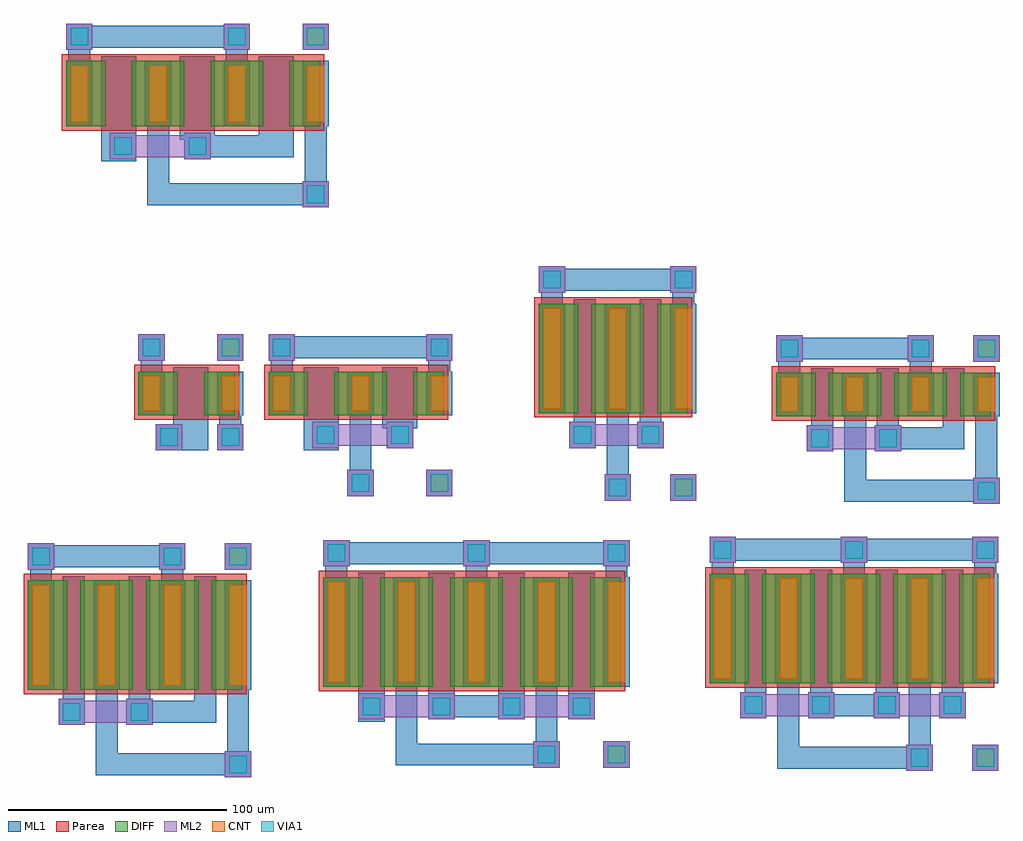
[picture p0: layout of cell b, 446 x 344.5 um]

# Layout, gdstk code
import gdstk
lib = gdstk.Library(unit=1e-6, precision=1e-09)
def R(c, l, rs):  # rectangles x0, y0, x1, y1
    for r in rs: c.add(gdstk.rectangle(r[:2], r[2:], *l))
def A(c, l, x, y, w, h, nx, ny, dx, dy):  # array of equal rectangles
    R(c, l, [(x+i*dx, y+j*dy, x+i*dx+w, y+j*dy+h) for i in range(nx) for j in range(ny)])
DIFF = (3, 0)
CNT = (7, 0)
ML1 = (8, 0)
VIA1 = (9, 0)
ML2 = (10, 0)
Parea = (18, 0)

c_b = lib.new_cell('b')
A(c_b, DIFF, 77.5, -130, 24, 50, 3, 1, 32, 0)
A(c_b, DIFF, 252, -128.5, 24, 50, 3, 1, 30, 0)
R(c_b, DIFF, [(-83.5,-131.5,-65.5,-81.5), (-59.5,-131.5,-35.5,-81.5), (-29.5,-131.5,-5.5,-81.5), (0.5,-131.5,14.5,-81.5), (51.5,-130,69.5,-80), (173.5,-130,187.5,-80), (228,-128.5,246,-78.5), (342,-128.5,356,-78.5), (258.5,-6.5,276.5,13.5), (282.5,-6.5,306.5,13.5), (312.5,-6.5,336.5,13.5), (342.5,-6.5,356.5,13.5), (-33,-6,-15,14), (-3,-6,11,14), (26.5,-6,44.5,14), (56.5,-6,80.5,14), (92.5,-6,106.5,14), (150,-5,168,45), (174,-5,198,45), (204,-5,218,45), (-66,126,-48,156), (-36,126,-12,156), (0,126,24,156), (36,126,50,156)])
R(c_b, CNT, [(350,-166.5,358,-158.5), (181.5,-165,189.5,-157), (8.5,-74.5,16.5,-66.5), (212,-43,220,-35), (100.5,-41,108.5,-33), (350.5,20.5,358.5,28.5), (5,21,13,29), (44,163,52,171)])
A(c_b, ML1, 67.5, -145, 12, 12, 4, 1, 32, 0)
A(c_b, ML1, 273, -144.5, 12, 12, 3, 1, 30, 0)
A(c_b, ML1, 51.5, -75, 12, 12, 3, 1, 64, 0)
A(c_b, ML1, 228, -73.5, 12, 12, 3, 1, 60, 0)
R(c_b, ML1, [(6.5,-171.5,18.5,-159.5), (318,-168.5,330,-156.5), (348,-168.5,360,-156.5), (348,-168.5,360,-156.5), (147.5,-167,159.5,-155), (179.5,-167,191.5,-155), (179.5,-167,191.5,-155), (-69.5,-147.5,-57.5,-135.5), (-38.5,-147.5,-26.5,-135.5), (242,-144.5,254,-132.5), (-83.5,-76.5,-71.5,-64.5), (-23.5,-76.5,-11.5,-64.5), (6.5,-76.5,18.5,-64.5), (6.5,-76.5,18.5,-64.5), (348.5,-46.5,360.5,-34.5), (180,-45,192,-33), (210,-45,222,-33), (210,-45,222,-33), (62.5,-43,74.5,-31), (98.5,-43,110.5,-31), (98.5,-43,110.5,-31), (272.5,-22.5,284.5,-10.5), (303.5,-22.5,315.5,-10.5), (-25,-22,-13,-10), (3,-22,15,-10), (46.5,-21,58.5,-9), (80.5,-21,92.5,-9), (164,-21,176,-9), (195,-21,207,-9), (258.5,18.5,270.5,30.5), (318.5,18.5,330.5,30.5), (348.5,18.5,360.5,30.5), (348.5,18.5,360.5,30.5), (-33,19,-21,31), (3,19,15,31), (3,19,15,31), (26.5,19,38.5,31), (98.5,19,110.5,31), (150,50,162,62), (210,50,222,62), (42,89,54,101), (-46,111,-34,123), (-12,111,0,123), (-66,161,-54,173), (6,161,18,173), (42,161,54,173), (42,161,54,173)])
A(c_b, VIA1, 69.5, -143, 8, 8, 4, 1, 32, 0)
A(c_b, VIA1, 275, -142.5, 8, 8, 3, 1, 30, 0)
A(c_b, VIA1, 53.5, -73, 8, 8, 3, 1, 64, 0)
A(c_b, VIA1, 230, -71.5, 8, 8, 3, 1, 60, 0)
R(c_b, VIA1, [(8.5,-169.5,16.5,-161.5), (320,-166.5,328,-158.5), (350,-166.5,358,-158.5), (149.5,-165,157.5,-157), (181.5,-165,189.5,-157), (-67.5,-145.5,-59.5,-137.5), (-36.5,-145.5,-28.5,-137.5), (244,-142.5,252,-134.5), (-81.5,-74.5,-73.5,-66.5), (-21.5,-74.5,-13.5,-66.5), (8.5,-74.5,16.5,-66.5), (350.5,-44.5,358.5,-36.5), (182,-43,190,-35), (212,-43,220,-35), (64.5,-41,72.5,-33), (100.5,-41,108.5,-33), (274.5,-20.5,282.5,-12.5), (305.5,-20.5,313.5,-12.5), (-23,-20,-15,-12), (5,-20,13,-12), (48.5,-19,56.5,-11), (82.5,-19,90.5,-11), (166,-19,174,-11), (197,-19,205,-11), (260.5,20.5,268.5,28.5), (320.5,20.5,328.5,28.5), (350.5,20.5,358.5,28.5), (-31,21,-23,29), (5,21,13,29), (28.5,21,36.5,29), (100.5,21,108.5,29), (152,52,160,60), (212,52,220,60), (44,91,52,99), (-44,113,-36,121), (-10,113,-2,121), (-64,163,-56,171), (8,163,16,171), (44,163,52,171)])
A(c_b, ML2, 67.5, -145, 12, 12, 4, 1, 32, 0)
A(c_b, ML2, 273, -144.5, 12, 12, 3, 1, 30, 0)
A(c_b, ML2, 51.5, -75, 12, 12, 3, 1, 64, 0)
A(c_b, ML2, 228, -73.5, 12, 12, 3, 1, 60, 0)
R(c_b, ML2, [(6.5,-171.5,18.5,-159.5), (318,-168.5,330,-156.5), (348,-168.5,360,-156.5), (147.5,-167,159.5,-155), (179.5,-167,191.5,-155), (-69.5,-147.5,-57.5,-135.5), (-38.5,-147.5,-26.5,-135.5), (242,-144.5,254,-132.5), (-83.5,-76.5,-71.5,-64.5), (-23.5,-76.5,-11.5,-64.5), (6.5,-76.5,18.5,-64.5), (348.5,-46.5,360.5,-34.5), (180,-45,192,-33), (210,-45,222,-33), (62.5,-43,74.5,-31), (98.5,-43,110.5,-31), (272.5,-22.5,284.5,-10.5), (303.5,-22.5,315.5,-10.5), (-25,-22,-13,-10), (3,-22,15,-10), (46.5,-21,58.5,-9), (80.5,-21,92.5,-9), (164,-21,176,-9), (195,-21,207,-9), (258.5,18.5,270.5,30.5), (318.5,18.5,330.5,30.5), (348.5,18.5,360.5,30.5), (-33,19,-21,31), (3,19,15,31), (26.5,19,38.5,31), (98.5,19,110.5,31), (150,50,162,62), (210,50,222,62), (42,89,54,101), (-46,111,-34,123), (-12,111,0,123), (-66,161,-54,173), (6,161,18,173), (42,161,54,173)])
R(c_b, Parea, [(-85.5,-133.5,16.5,-78.5), (49.5,-132,189.5,-77), (226,-130.5,358,-75.5), (256.5,-8.5,358.5,16.5), (-35,-8,13,17), (24.5,-8,108.5,17), (148,-7,220,48), (-68,124,52,159)])
c_b.add(gdstk.FlexPath([(-27,-6),(-27,14)], 8, ends=(-2, -2), simple_path=True, layer=7, datatype=0))  # CNT
c_b.add(gdstk.FlexPath([(9,-6),(9,14)], 8, ends=(-2, -2), simple_path=True, layer=7, datatype=0))  # CNT
c_b.add(gdstk.FlexPath([(-77.5,-131.5),(-77.5,-81.5)], 8, ends=(-2, -2), simple_path=True, layer=7, datatype=0))  # CNT
c_b.add(gdstk.FlexPath([(-47.5,-131.5),(-47.5,-81.5)], 8, ends=(-2, -2), simple_path=True, layer=7, datatype=0))  # CNT
c_b.add(gdstk.FlexPath([(-17.5,-131.5),(-17.5,-81.5)], 8, ends=(-2, -2), simple_path=True, layer=7, datatype=0))  # CNT
c_b.add(gdstk.FlexPath([(12.5,-131.5),(12.5,-81.5)], 8, ends=(-2, -2), simple_path=True, layer=7, datatype=0))  # CNT
c_b.add(gdstk.FlexPath([(156,-5),(156,45)], 8, ends=(-2, -2), simple_path=True, layer=7, datatype=0))  # CNT
c_b.add(gdstk.FlexPath([(186,-5),(186,45)], 8, ends=(-2, -2), simple_path=True, layer=7, datatype=0))  # CNT
c_b.add(gdstk.FlexPath([(216,-5),(216,45)], 8, ends=(-2, -2), simple_path=True, layer=7, datatype=0))  # CNT
c_b.add(gdstk.FlexPath([(57.5,-130),(57.5,-80)], 8, ends=(-2, -2), simple_path=True, layer=7, datatype=0))  # CNT
c_b.add(gdstk.FlexPath([(89.5,-130),(89.5,-80)], 8, ends=(-2, -2), simple_path=True, layer=7, datatype=0))  # CNT
c_b.add(gdstk.FlexPath([(121.5,-130),(121.5,-80)], 8, ends=(-2, -2), simple_path=True, layer=7, datatype=0))  # CNT
c_b.add(gdstk.FlexPath([(153.5,-130),(153.5,-80)], 8, ends=(-2, -2), simple_path=True, layer=7, datatype=0))  # CNT
c_b.add(gdstk.FlexPath([(185.5,-130),(185.5,-80)], 8, ends=(-2, -2), simple_path=True, layer=7, datatype=0))  # CNT
c_b.add(gdstk.FlexPath([(32.5,-6),(32.5,14)], 8, ends=(-2, -2), simple_path=True, layer=7, datatype=0))  # CNT
c_b.add(gdstk.FlexPath([(68.5,-6),(68.5,14)], 8, ends=(-2, -2), simple_path=True, layer=7, datatype=0))  # CNT
c_b.add(gdstk.FlexPath([(104.5,-6),(104.5,14)], 8, ends=(-2, -2), simple_path=True, layer=7, datatype=0))  # CNT
c_b.add(gdstk.FlexPath([(264.5,-6.5),(264.5,13.5)], 8, ends=(-2, -2), simple_path=True, layer=7, datatype=0))  # CNT
c_b.add(gdstk.FlexPath([(294.5,-6.5),(294.5,13.5)], 8, ends=(-2, -2), simple_path=True, layer=7, datatype=0))  # CNT
c_b.add(gdstk.FlexPath([(324.5,-6.5),(324.5,13.5)], 8, ends=(-2, -2), simple_path=True, layer=7, datatype=0))  # CNT
c_b.add(gdstk.FlexPath([(354.5,-6.5),(354.5,13.5)], 8, ends=(-2, -2), simple_path=True, layer=7, datatype=0))  # CNT
c_b.add(gdstk.FlexPath([(234,-128.5),(234,-78.5)], 8, ends=(-2, -2), simple_path=True, layer=7, datatype=0))  # CNT
c_b.add(gdstk.FlexPath([(264,-128.5),(264,-78.5)], 8, ends=(-2, -2), simple_path=True, layer=7, datatype=0))  # CNT
c_b.add(gdstk.FlexPath([(294,-128.5),(294,-78.5)], 8, ends=(-2, -2), simple_path=True, layer=7, datatype=0))  # CNT
c_b.add(gdstk.FlexPath([(324,-128.5),(324,-78.5)], 8, ends=(-2, -2), simple_path=True, layer=7, datatype=0))  # CNT
c_b.add(gdstk.FlexPath([(354,-128.5),(354,-78.5)], 8, ends=(-2, -2), simple_path=True, layer=7, datatype=0))  # CNT
c_b.add(gdstk.FlexPath([(-60,126),(-60,156)], 8, ends=(-2, -2), simple_path=True, layer=7, datatype=0))  # CNT
c_b.add(gdstk.FlexPath([(-24,126),(-24,156)], 8, ends=(-2, -2), simple_path=True, layer=7, datatype=0))  # CNT
c_b.add(gdstk.FlexPath([(12,126),(12,156)], 8, ends=(-2, -2), simple_path=True, layer=7, datatype=0))  # CNT
c_b.add(gdstk.FlexPath([(48,126),(48,156)], 8, ends=(-2, -2), simple_path=True, layer=7, datatype=0))  # CNT
c_b.add(gdstk.FlexPath([(-27,-6),(-27,14)], 12, ends="flush", simple_path=True, layer=8, datatype=0))  # ML1
c_b.add(gdstk.FlexPath([(-9,-16),(-9,14)], 16, ends=(6, 2), simple_path=True, layer=8, datatype=0))  # ML1
c_b.add(gdstk.FlexPath([(9,-6),(9,14)], 12, ends="flush", simple_path=True, layer=8, datatype=0))  # ML1
c_b.add(gdstk.FlexPath([(156,-5),(156,45)], 12, ends="flush", simple_path=True, layer=8, datatype=0))  # ML1
c_b.add(gdstk.FlexPath([(171,-15),(171,45)], 10, ends=(6, 2), simple_path=True, layer=8, datatype=0))  # ML1
c_b.add(gdstk.FlexPath([(186,-5),(186,45)], 12, ends="flush", simple_path=True, layer=8, datatype=0))  # ML1
c_b.add(gdstk.FlexPath([(201,-5),(201,45)], 10, ends=(6, 2), simple_path=True, layer=8, datatype=0))  # ML1
c_b.add(gdstk.FlexPath([(216,-5),(216,45)], 12, ends="flush", simple_path=True, layer=8, datatype=0))  # ML1
c_b.add(gdstk.FlexPath([(137.5,-130),(137.5,-80)], 12, ends=(6, 2), simple_path=True, layer=8, datatype=0))  # ML1
c_b.add(gdstk.FlexPath([(101.5,-139),(143.5,-139)], 10, ends="flush", simple_path=True, layer=8, datatype=0))  # ML1
c_b.add(gdstk.FlexPath([(89.5,-161),(153.5,-161)], 10, ends="extended", simple_path=True, layer=8, datatype=0))  # ML1
c_b.add(gdstk.FlexPath([(121.5,-69),(185.5,-69)], 10, ends="extended", simple_path=True, layer=8, datatype=0))  # ML1
c_b.add(gdstk.FlexPath([(32.5,-6),(32.5,14)], 12, ends="flush", simple_path=True, layer=8, datatype=0))  # ML1
c_b.add(gdstk.FlexPath([(50.5,-16),(50.5,14)], 16, ends=(6, 2), simple_path=True, layer=8, datatype=0))  # ML1
c_b.add(gdstk.FlexPath([(68.5,-6),(68.5,14)], 12, ends="flush", simple_path=True, layer=8, datatype=0))  # ML1
c_b.add(gdstk.FlexPath([(86.5,-6),(86.5,14)], 16, ends=(6, 2), simple_path=True, layer=8, datatype=0))  # ML1
c_b.add(gdstk.FlexPath([(104.5,-6),(104.5,14)], 12, ends="flush", simple_path=True, layer=8, datatype=0))  # ML1
c_b.add(gdstk.FlexPath([(264.5,-6.5),(264.5,13.5)], 12, ends="flush", simple_path=True, layer=8, datatype=0))  # ML1
c_b.add(gdstk.FlexPath([(279.5,-16.5),(279.5,13.5)], 10, ends=(6, 2), simple_path=True, layer=8, datatype=0))  # ML1
c_b.add(gdstk.FlexPath([(294.5,-6.5),(294.5,13.5)], 12, ends="flush", simple_path=True, layer=8, datatype=0))  # ML1
c_b.add(gdstk.FlexPath([(309.5,-6.5),(309.5,13.5)], 10, ends=(6, 2), simple_path=True, layer=8, datatype=0))  # ML1
c_b.add(gdstk.FlexPath([(324.5,-6.5),(324.5,13.5)], 12, ends="flush", simple_path=True, layer=8, datatype=0))  # ML1
c_b.add(gdstk.FlexPath([(339.5,-6.5),(339.5,13.5)], 10, ends=(6, 2), simple_path=True, layer=8, datatype=0))  # ML1
c_b.add(gdstk.FlexPath([(354.5,-6.5),(354.5,13.5)], 12, ends="flush", simple_path=True, layer=8, datatype=0))  # ML1
c_b.add(gdstk.FlexPath([(216,46),(216,56)], 10, ends="extended", simple_path=True, layer=8, datatype=0))  # ML1
c_b.add(gdstk.FlexPath([(156,56),(216,56)], 10, ends="extended", simple_path=True, layer=8, datatype=0))  # ML1
c_b.add(gdstk.FlexPath([(156,46),(156,56)], 10, ends="extended", simple_path=True, layer=8, datatype=0))  # ML1
c_b.add(gdstk.FlexPath([(264.5,14.5),(264.5,24.5)], 10, ends="extended", simple_path=True, layer=8, datatype=0))  # ML1
c_b.add(gdstk.FlexPath([(324.5,14.5),(324.5,24.5)], 10, ends="extended", simple_path=True, layer=8, datatype=0))  # ML1
c_b.add(gdstk.FlexPath([(264.5,24.5),(324.5,24.5)], 10, ends="extended", simple_path=True, layer=8, datatype=0))  # ML1
c_b.add(gdstk.FlexPath([(104.5,15),(104.5,25)], 10, ends="extended", simple_path=True, layer=8, datatype=0))  # ML1
c_b.add(gdstk.FlexPath([(32.5,25),(104.5,25)], 10, ends="extended", simple_path=True, layer=8, datatype=0))  # ML1
c_b.add(gdstk.FlexPath([(-27,15),(-27,25)], 10, ends="extended", simple_path=True, layer=8, datatype=0))  # ML1
c_b.add(gdstk.FlexPath([(32.5,15),(32.5,25)], 10, ends="extended", simple_path=True, layer=8, datatype=0))  # ML1
c_b.add(gdstk.FlexPath([(-60,126),(-60,156)], 12, ends="flush", simple_path=True, layer=8, datatype=0))  # ML1
c_b.add(gdstk.FlexPath([(-42,116),(-42,156)], 16, ends=(6, 2), simple_path=True, layer=8, datatype=0))  # ML1
c_b.add(gdstk.FlexPath([(-24,126),(-24,156)], 12, ends="flush", simple_path=True, layer=8, datatype=0))  # ML1
c_b.add(gdstk.FlexPath([(-6,126),(-6,156)], 16, ends=(6, 2), simple_path=True, layer=8, datatype=0))  # ML1
c_b.add(gdstk.FlexPath([(12,126),(12,156)], 12, ends="flush", simple_path=True, layer=8, datatype=0))  # ML1
c_b.add(gdstk.FlexPath([(30,126),(30,156)], 16, ends=(6, 2), simple_path=True, layer=8, datatype=0))  # ML1
c_b.add(gdstk.FlexPath([(-10,117),(38,117)], 10, ends="flush", simple_path=True, layer=8, datatype=0))  # ML1
c_b.add(gdstk.FlexPath([(48,126),(48,156)], 12, ends="flush", simple_path=True, layer=8, datatype=0))  # ML1
c_b.add(gdstk.FlexPath([(-60,157),(-60,167)], 10, ends="extended", simple_path=True, layer=8, datatype=0))  # ML1
c_b.add(gdstk.FlexPath([(-24,99),(-24,124)], 10, ends="extended", simple_path=True, layer=8, datatype=0))  # ML1
c_b.add(gdstk.FlexPath([(12,157),(12,167)], 10, ends="extended", simple_path=True, layer=8, datatype=0))  # ML1
c_b.add(gdstk.FlexPath([(-60,167),(12,167)], 10, ends="extended", simple_path=True, layer=8, datatype=0))  # ML1
c_b.add(gdstk.FlexPath([(48,99),(48,124)], 10, ends="extended", simple_path=True, layer=8, datatype=0))  # ML1
c_b.add(gdstk.FlexPath([(-24,95),(48,95)], 10, ends="extended", simple_path=True, layer=8, datatype=0))  # ML1
c_b.add(gdstk.FlexPath([(-32.5,-131.5),(-32.5,-81.5)], 10, ends=(6, 2), simple_path=True, layer=8, datatype=0))  # ML1
c_b.add(gdstk.FlexPath([(-17.5,-131.5),(-17.5,-81.5)], 12, ends="flush", simple_path=True, layer=8, datatype=0))  # ML1
c_b.add(gdstk.FlexPath([(-2.5,-131.5),(-2.5,-81.5)], 10, ends=(6, 2), simple_path=True, layer=8, datatype=0))  # ML1
c_b.add(gdstk.FlexPath([(-36.5,-141.5),(2.5,-141.5)], 10, ends="flush", simple_path=True, layer=8, datatype=0))  # ML1
c_b.add(gdstk.FlexPath([(57.5,-130),(57.5,-80)], 12, ends="flush", simple_path=True, layer=8, datatype=0))  # ML1
c_b.add(gdstk.FlexPath([(73.5,-140),(73.5,-80)], 12, ends=(6, 2), simple_path=True, layer=8, datatype=0))  # ML1
c_b.add(gdstk.FlexPath([(89.5,-130),(89.5,-80)], 12, ends="flush", simple_path=True, layer=8, datatype=0))  # ML1
c_b.add(gdstk.FlexPath([(105.5,-130),(105.5,-80)], 12, ends=(6, 2), simple_path=True, layer=8, datatype=0))  # ML1
c_b.add(gdstk.FlexPath([(121.5,-130),(121.5,-80)], 12, ends="flush", simple_path=True, layer=8, datatype=0))  # ML1
c_b.add(gdstk.FlexPath([(12.5,-131.5),(12.5,-81.5)], 12, ends="flush", simple_path=True, layer=8, datatype=0))  # ML1
c_b.add(gdstk.FlexPath([(-77.5,-80.5),(-77.5,-70.5)], 10, ends="extended", simple_path=True, layer=8, datatype=0))  # ML1
c_b.add(gdstk.FlexPath([(57.5,-79),(57.5,-69)], 10, ends="extended", simple_path=True, layer=8, datatype=0))  # ML1
c_b.add(gdstk.FlexPath([(89.5,-157),(89.5,-132)], 10, ends="extended", simple_path=True, layer=8, datatype=0))  # ML1
c_b.add(gdstk.FlexPath([(121.5,-79),(121.5,-69)], 10, ends="extended", simple_path=True, layer=8, datatype=0))  # ML1
c_b.add(gdstk.FlexPath([(57.5,-69),(121.5,-69)], 10, ends="extended", simple_path=True, layer=8, datatype=0))  # ML1
c_b.add(gdstk.FlexPath([(-47.5,-161.5),(-47.5,-133.5)], 10, ends="extended", simple_path=True, layer=8, datatype=0))  # ML1
c_b.add(gdstk.FlexPath([(-17.5,-80.5),(-17.5,-70.5)], 10, ends="extended", simple_path=True, layer=8, datatype=0))  # ML1
c_b.add(gdstk.FlexPath([(-77.5,-70.5),(-17.5,-70.5)], 10, ends="extended", simple_path=True, layer=8, datatype=0))  # ML1
c_b.add(gdstk.FlexPath([(12.5,-161.5),(12.5,-133.5)], 10, ends="extended", simple_path=True, layer=8, datatype=0))  # ML1
c_b.add(gdstk.FlexPath([(-47.5,-165.5),(12.5,-165.5)], 10, ends="extended", simple_path=True, layer=8, datatype=0))  # ML1
c_b.add(gdstk.FlexPath([(9,-12),(9,-8)], 10, ends="extended", simple_path=True, layer=8, datatype=0))  # ML1
c_b.add(gdstk.FlexPath([(-77.5,-131.5),(-77.5,-81.5)], 12, ends="flush", simple_path=True, layer=8, datatype=0))  # ML1
c_b.add(gdstk.FlexPath([(-62.5,-141.5),(-62.5,-81.5)], 10, ends=(6, 2), simple_path=True, layer=8, datatype=0))  # ML1
c_b.add(gdstk.FlexPath([(68.5,-33),(68.5,-8)], 10, ends="extended", simple_path=True, layer=8, datatype=0))  # ML1
c_b.add(gdstk.FlexPath([(-47.5,-131.5),(-47.5,-81.5)], 12, ends="flush", simple_path=True, layer=8, datatype=0))  # ML1
c_b.add(gdstk.FlexPath([(294,-128.5),(294,-78.5)], 12, ends="flush", simple_path=True, layer=8, datatype=0))  # ML1
c_b.add(gdstk.FlexPath([(309,-128.5),(309,-78.5)], 10, ends=(6, 2), simple_path=True, layer=8, datatype=0))  # ML1
c_b.add(gdstk.FlexPath([(275,-138.5),(314,-138.5)], 10, ends="flush", simple_path=True, layer=8, datatype=0))  # ML1
c_b.add(gdstk.FlexPath([(324,-128.5),(324,-78.5)], 12, ends="flush", simple_path=True, layer=8, datatype=0))  # ML1
c_b.add(gdstk.FlexPath([(339,-128.5),(339,-78.5)], 10, ends=(6, 2), simple_path=True, layer=8, datatype=0))  # ML1
c_b.add(gdstk.FlexPath([(354,-128.5),(354,-78.5)], 12, ends="flush", simple_path=True, layer=8, datatype=0))  # ML1
c_b.add(gdstk.FlexPath([(234,-77.5),(234,-67.5)], 10, ends="extended", simple_path=True, layer=8, datatype=0))  # ML1
c_b.add(gdstk.FlexPath([(264,-158.5),(264,-130.5)], 10, ends="extended", simple_path=True, layer=8, datatype=0))  # ML1
c_b.add(gdstk.FlexPath([(294,-77.5),(294,-67.5)], 10, ends="extended", simple_path=True, layer=8, datatype=0))  # ML1
c_b.add(gdstk.FlexPath([(234,-67.5),(294,-67.5)], 10, ends="extended", simple_path=True, layer=8, datatype=0))  # ML1
c_b.add(gdstk.FlexPath([(324,-158.5),(324,-130.5)], 10, ends="extended", simple_path=True, layer=8, datatype=0))  # ML1
c_b.add(gdstk.FlexPath([(264,-162.5),(324,-162.5)], 10, ends="extended", simple_path=True, layer=8, datatype=0))  # ML1
c_b.add(gdstk.FlexPath([(354,-77.5),(354,-67.5)], 10, ends="extended", simple_path=True, layer=8, datatype=0))  # ML1
c_b.add(gdstk.FlexPath([(294,-67.5),(354,-67.5)], 10, ends="extended", simple_path=True, layer=8, datatype=0))  # ML1
c_b.add(gdstk.FlexPath([(185.5,-130),(185.5,-80)], 12, ends="flush", simple_path=True, layer=8, datatype=0))  # ML1
c_b.add(gdstk.FlexPath([(153.5,-157),(153.5,-132)], 10, ends="extended", simple_path=True, layer=8, datatype=0))  # ML1
c_b.add(gdstk.FlexPath([(305.5,-16.5),(344.5,-16.5)], 10, ends="flush", simple_path=True, layer=8, datatype=0))  # ML1
c_b.add(gdstk.FlexPath([(186,-35),(186,-7)], 10, ends="extended", simple_path=True, layer=8, datatype=0))  # ML1
c_b.add(gdstk.FlexPath([(185.5,-79),(185.5,-69)], 10, ends="extended", simple_path=True, layer=8, datatype=0))  # ML1
c_b.add(gdstk.FlexPath([(294.5,-36.5),(294.5,-8.5)], 10, ends="extended", simple_path=True, layer=8, datatype=0))  # ML1
c_b.add(gdstk.FlexPath([(153.5,-130),(153.5,-80)], 12, ends="flush", simple_path=True, layer=8, datatype=0))  # ML1
c_b.add(gdstk.FlexPath([(169.5,-130),(169.5,-80)], 12, ends=(6, 2), simple_path=True, layer=8, datatype=0))  # ML1
c_b.add(gdstk.FlexPath([(354.5,-36.5),(354.5,-8.5)], 10, ends="extended", simple_path=True, layer=8, datatype=0))  # ML1
c_b.add(gdstk.FlexPath([(294.5,-40.5),(354.5,-40.5)], 10, ends="extended", simple_path=True, layer=8, datatype=0))  # ML1
c_b.add(gdstk.FlexPath([(234,-128.5),(234,-78.5)], 12, ends="flush", simple_path=True, layer=8, datatype=0))  # ML1
c_b.add(gdstk.FlexPath([(249,-138.5),(249,-78.5)], 10, ends=(6, 2), simple_path=True, layer=8, datatype=0))  # ML1
c_b.add(gdstk.FlexPath([(264,-128.5),(264,-78.5)], 12, ends="flush", simple_path=True, layer=8, datatype=0))  # ML1
c_b.add(gdstk.FlexPath([(279,-128.5),(279,-78.5)], 10, ends=(6, 2), simple_path=True, layer=8, datatype=0))  # ML1
c_b.add(gdstk.FlexPath([(-66.5,-141.5),(-32.5,-141.5)], 10, ends="flush", simple_path=True, layer=10, datatype=0))  # ML2
c_b.add(gdstk.FlexPath([(167,-15),(201,-15)], 10, ends="flush", simple_path=True, layer=10, datatype=0))  # ML2
c_b.add(gdstk.FlexPath([(69.5,-139),(105.5,-139)], 10, ends="flush", simple_path=True, layer=10, datatype=0))  # ML2
c_b.add(gdstk.FlexPath([(133.5,-139),(169.5,-139)], 10, ends="flush", simple_path=True, layer=10, datatype=0))  # ML2
c_b.add(gdstk.FlexPath([(46.5,-15),(86.5,-15)], 10, ends="flush", simple_path=True, layer=10, datatype=0))  # ML2
c_b.add(gdstk.FlexPath([(275.5,-16.5),(309.5,-16.5)], 10, ends="flush", simple_path=True, layer=10, datatype=0))  # ML2
c_b.add(gdstk.FlexPath([(245,-138.5),(279,-138.5)], 10, ends="flush", simple_path=True, layer=10, datatype=0))  # ML2
c_b.add(gdstk.FlexPath([(305,-138.5),(339,-138.5)], 10, ends="flush", simple_path=True, layer=10, datatype=0))  # ML2
c_b.add(gdstk.FlexPath([(-46,117),(-6,117)], 10, ends="flush", simple_path=True, layer=10, datatype=0))  # ML2

lib.write_gds('b.gds')
